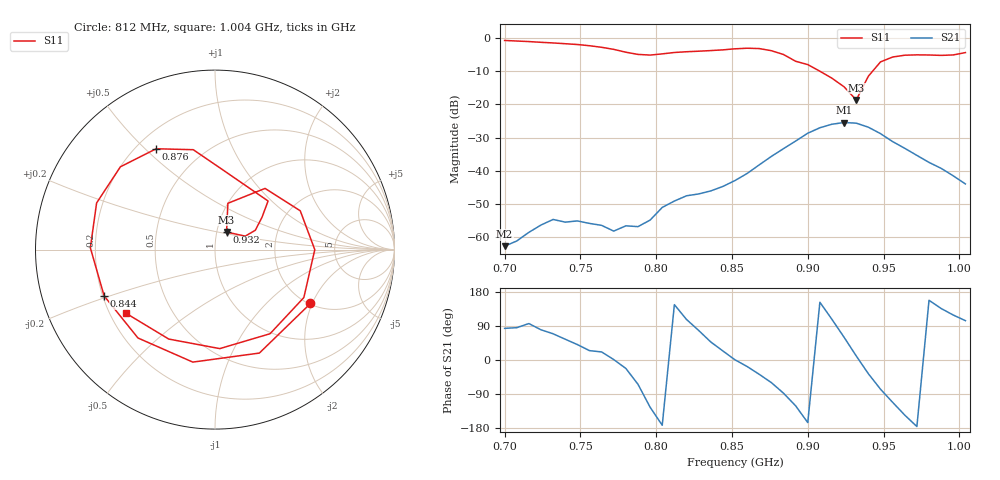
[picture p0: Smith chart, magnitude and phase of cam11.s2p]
# Hz S RI R 50
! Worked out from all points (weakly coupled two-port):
!   39 points, 700 MHz to 1.004 GHz, reference 50 ohm
!   highest |S21| = -25.46 dB at 924 MHz (marker M1); lowest = -62.9 dB at 700 MHz (marker M2)
!   lowest |S11| = -18.6 dB at 932 MHz (marker M3), VSWR 1.26, Z = 55.7 + j11 ohm
!   |S11| at or under -10 dB: 908.2 MHz to 942.7 MHz (34.46 MHz wide, 3.72 % of centre)
!   S12 and S22 are empty: the file has one direction only
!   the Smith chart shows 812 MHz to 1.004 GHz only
!   S11 on the Smith chart (normalised r, x): 812 MHz: 2.03, -1.94; 844 MHz: 0.21, -0.19; 876 MHz: 0.28, +0.54; 932 MHz: 1.11, +0.22; 1.004 GHz: 0.27, -0.30
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7e8  0.7621 0.5313  8.17e-05 0.000715  0 0  0 0
7.24e8  0.8312 -0.2607  0.000268 0.00148  0 0  0 0
7.4e8  0.4443 -0.7001  0.000958 0.00136  0 0  0 0
7.56e8  -0.1952 -0.7483  0.00144 0.000665  0 0  0 0
7.72e8  -0.6554 -0.1862  0.00122 2.45e-05  0 0  0 0
7.8e8  -0.5731 0.2284  0.00135 -0.000554  0 0  0 0
7.88e8  -0.2213 0.5268  0.000621 -0.00128  0 0  0 0
7.96e8  0.2552 0.4967  -0.00102 -0.00147  0 0  0 0
8.04e8  0.5645 0.1429  -0.00275 -0.000381  0 0  0 0
8.12e8  0.5319 -0.3003  -0.00287 0.00193  0 0  0 0
8.28e8  -0.1236 -0.6268  0.000916 0.00434  0 0  0 0
8.44e8  -0.6177 -0.258  0.00527 0.00233  0 0  0 0
8.52e8  -0.6945 0.00999  0.00708 5.89e-05  0 0  0 0
8.76e8  -0.3277 0.5618  0.00827 -0.0141  0 0  0 0
9e8  0.2956 0.2708  -0.0355 -0.00945  0 0  0 0
9.08e8  0.2622 0.1806  -0.0394 0.0206  0 0  0 0
9.24e8  0.1687 0.0751  0.0269 0.0461  0 0  0 0
9.32e8  0.0644 0.0976  0.0513 0.00962  0 0  0 0
9.48e8  0.2788 0.3409  0.00811 -0.0353  0 0  0 0
9.56e8  0.475 0.2163  -0.0101 -0.0255  0 0  0 0
9.8e8  0.3068 -0.4686  -0.0123 0.00506  0 0  0 0
1.004e9  -0.4942 -0.3557  -0.0015 0.0061  0 0  0 0
